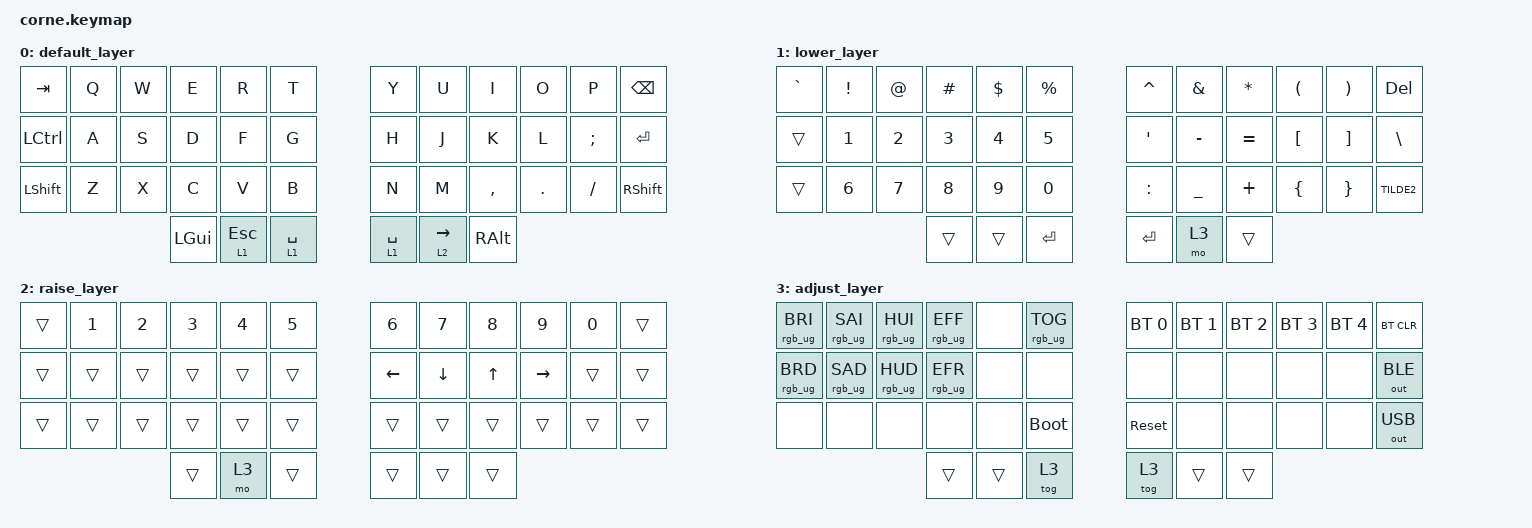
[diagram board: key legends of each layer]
/*
 * Copyright (c) 2020 The ZMK Contributors
 *
 * SPDX-License-Identifier: MIT
 */

#include <behaviors.dtsi>
#include <dt-bindings/zmk/keys.h>
#include <dt-bindings/zmk/bt.h>
#include <dt-bindings/zmk/rgb.h>
#include <dt-bindings/zmk/outputs.h>
 
/ {
        keymap {
                compatible = "zmk,keymap";

                default_layer {
// -------------------------------------------------------------------------------------
// |  TAB |  Q  |  W  |  E  |  R  |  T  |   |  Y  |  U   |  I  |  O  |  P  |   BKSP    |
// | CTRL |  A  |  S  |  D  |  F  |  G  |   |  H  |  J   |  K  |  L  |  ;  |  ENTER    |
// | SHFT |  Z  |  X  |  C  |  V  |  B  |   |  N  |  M   |  ,  |  .  |  /  | SHFT(RET) |
//                         | GUI | LWR | SPC |SPC| RSE  | ALT |
                        bindings = <
   &kp TAB   &kp Q &kp W &kp E &kp R &kp T   &kp Y &kp U  &kp I     &kp O   &kp P    &kp BSPC
   &kp LCTRL &kp A &kp S &kp D &kp F &kp G   &kp H &kp J  &kp K     &kp L   &kp SEMI &kp RET
   &kp LSHFT &kp Z &kp X &kp C &kp V &kp B   &kp N &kp M  &kp COMMA &kp DOT &kp FSLH &kp RSHFT
                        &kp LGUI  &lt 1 ESC &lt 1 SPACE &lt 1 SPACE &lt 2 RIGHT  &kp RALT
                        >;
                };

                lower_layer {
// ----------------------------------------------------------------------------------
// | `  |  !  |  @  |  #  |  $  |  %  |   |  ^  |  &  |  *  |  (  |  )  |    DEL    |
// |    |  1  |  2  |  3  |  4  | 5   |   | '   |   - |  =  | [   |  ]  |    \      |
// |    | 6   | 7   | 8   | 9.  |  0  |   | :   |   _ |  +  | {   | }   |    ~     |
//                       |     |     | RET | RET | ADJ |     |
                        bindings = <
   &kp GRAVE &kp EXCL  &kp AT   &kp HASH &kp DLLR &kp PRCNT        &kp CARET &kp AMPS &kp STAR    &kp LPAR  &kp RPAR  &kp DEL
   &trans &kp N1 &kp N2 &kp N3 &kp N4 &kp N5               &kp SQT  &kp MINUS &kp EQUAL    &kp LBKT &kp RBKT &kp BACKSLASH
   &trans &kp N6   &kp N7    &kp N8 &kp N9 &kp N0          &kp COLON  &kp UNDER  &kp PLUS &kp LBRC &kp RBRC &kp TILDE2
                                 &trans      &trans         &kp RET &kp RET       &mo 3       &trans
                        >;
                };

                raise_layer {
// -----------------------------------------------------------------------------------------
// |    |  F1  |  F2   |   F3    |  F4   |  F5  |   F6    |   F7    |  F8   |  F9      |  F10   |    |
// |    | F11  |     |       |     |    | LEFT  | DOWN  | UP  | RIGHT  |  F12   |    |
// |    |    |     |       |     |    |       |       |     |        |     |    |
//                       |     | ADJ | BKSP |    |     |     |
                        bindings = <
   // &kp F1    &kp F2    &kp F3    &kp F4    &kp F5        &kp F6     &kp F7     &kp F8    &kp F9    &kp F10    &kp F11  &kp F12 
   &trans &kp N1    &kp N2    &kp N3    &kp N4    &kp N5        &kp N6     &kp N7     &kp N8    &kp N9    &kp N0    &trans 
   &trans &trans    &trans    &trans    &trans    &trans        &kp LEFT    &kp  DOWN   &kp UP    &kp RIGHT    &trans     &trans 
   &trans &trans    &trans    &trans    &trans    &trans        &trans     &trans     &trans     &trans    &trans    &trans 
                                &trans      &mo 3       &trans     &trans      &trans      &trans
                        >;
                };

                adjust_layer {
// -----------------------------------------------------------------------------------------
// | RGB BRI+ | RGB SAT+ | RGB HUE+ | RGB ANI+ |    | RGB TOG |   |  BT1  | BT2 | BT3 | BT4 | BT5 | BT CLR |
// | RGB BRI- | RGB SAT- | RGB HUE- | RGB ANI+ |    |         |   |       |     |     |     |     | OUT_BLE|
// |          |          |          |          |    |         |   | RESET |     |     |     |     | OUT_USB|
//                                              |     |     |     |     |     |     |
                        bindings = <
   &rgb_ug RGB_BRI &rgb_ug RGB_SAI &rgb_ug RGB_HUI &rgb_ug RGB_EFF &none &rgb_ug RGB_TOG    &bt BT_SEL 0 &bt BT_SEL 1 &bt BT_SEL 2 &bt BT_SEL 3 &bt BT_SEL 4 &bt BT_CLR
   &rgb_ug RGB_BRD &rgb_ug RGB_SAD &rgb_ug RGB_HUD &rgb_ug RGB_EFR &none &none              &none        &none        &none        &none        &none        &out OUT_BLE
   &none           &none           &none           &none           &none &bootloader              &sys_reset       &none        &none        &none        &none        &out OUT_USB
                                                             &trans      &trans       &tog 3  &tog 3       &trans      &trans
                        >;
                };
        };
};
 
